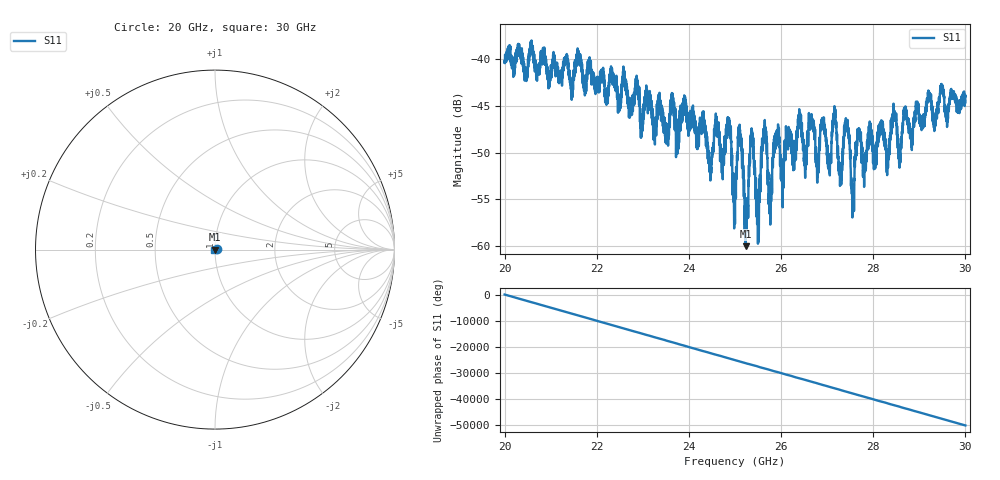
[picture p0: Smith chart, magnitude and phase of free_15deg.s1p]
#  HZ  S  RI  R  50.00
! Rohde & Schwarz ZVA40 4Ports - Version 3.90 - 1145.1110k42 SN: 100403
! Date: 2023-09-28 10:42:16
! Measurement: S12
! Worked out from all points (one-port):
!   5001 points, 20 GHz to 30 GHz, reference 50 ohm
!   lowest |S11| = -60.0 dB at 25.23 GHz (marker M1), VSWR 1.00, Z = 50.1 + j0.00813 ohm
!   |S11| at or under -10 dB: start of sweep to end of sweep
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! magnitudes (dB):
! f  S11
! 20 GHz  -40.4
! 21.25 GHz  -41.6
! 22.5 GHz  -44.4
! 23.75 GHz  -49.9
! 24.31 GHz  -45.8
! 24.46 GHz  -51.7
! 24.86 GHz  -46.4
! 25 GHz  -57.6
! 25.11 GHz  -48.2
! 25.23 GHz  -60.0
! 25.36 GHz  -47.4
! 25.49 GHz  -56.8
! 25.64 GHz  -47.2
! 25.76 GHz  -54.5
! 25.9 GHz  -47.7
! 26.02 GHz  -52.9
! 26.25 GHz  -50.3
! 26.65 GHz  -46.6
! 26.79 GHz  -52.1
! 26.9 GHz  -47.1
! 27.04 GHz  -51.4
! 27.16 GHz  -45.0
! 27.28 GHz  -53.1
! 27.42 GHz  -47.1
! 27.5 GHz  -50.1
! 27.56 GHz  -55.7
! 28.75 GHz  -46.4
! 30 GHz  -44.0
